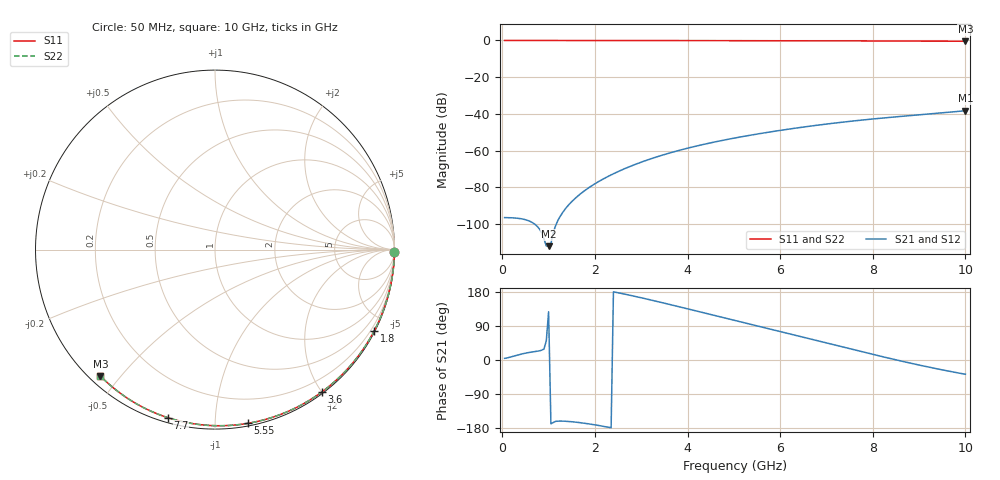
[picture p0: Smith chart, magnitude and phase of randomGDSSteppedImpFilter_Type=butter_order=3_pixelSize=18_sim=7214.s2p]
! freq	dB(S11)	phase(S11)	dB(S12)	phase(S12)
!  dB(S21)	phase(S21)	dB(S22)	phase(S22)
!S-par simulation data
#  GHz  S  DB  R 50
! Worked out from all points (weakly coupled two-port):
!   200 points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, 50 MHz to 10 GHz, reference 50 ohm
!   highest |S21| = -38.31 dB at 10 GHz (marker M1); lowest = -112.1 dB at 1 GHz (marker M2)
!   lowest |S11| = -0.4 dB at 10 GHz (marker M3), VSWR 39.60, Z = 1.51 - j22.1 ohm
!   |S11| at or under -10 dB: nowhere
!   |S22| runs from -0.4 to 0.0 dB; largest |S21 - S12| = 0
!   S11 on the Smith chart (normalised r, x): 50 MHz: open; 1.8 GHz: 0.04, -4.14; 3.6 GHz: 0.02, -2.00; 5.55 GHz: 0.02, -1.21; 7.7 GHz: 0.02, -0.76; 10 GHz: 0.03, -0.44
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0.05  -0.00 -0.8  -96.53 4.4  -96.53 4.4  -0.00 -0.8
0.5  -0.01 -7.6  -97.68 18.0  -97.68 18.0  -0.01 -7.6
1  -0.02 -15.2  -112.09 127.2  -112.09 127.2  -0.02 -15.2
1.75  -0.03 -26.4  -82.36 -166.5  -82.36 -166.5  -0.03 -26.4
1.8  -0.03 -27.1  -81.43 -167.3  -81.43 -167.3  -0.03 -27.1
1.85  -0.04 -27.9  -80.55 -168.2  -80.55 -168.2  -0.04 -27.9
1.9  -0.04 -28.6  -79.70 -169.2  -79.70 -169.2  -0.04 -28.6
2.05  -0.04 -30.8  -77.33 -172.2  -77.33 -172.2  -0.04 -30.8
2.25  -0.04 -33.7  -74.52 -176.5  -74.52 -176.5  -0.04 -33.7
2.65  -0.05 -39.5  -69.78 173.7  -69.78 173.7  -0.05 -39.5
3  -0.06 -44.6  -66.32 164.3  -66.32 164.3  -0.06 -44.6
3.4  -0.07 -50.2  -62.93 152.9  -62.93 152.9  -0.07 -50.2
3.6  -0.07 -53.0  -61.42 147.0  -61.42 147.0  -0.07 -53.0
4.3  -0.09 -62.7  -56.89 126.1  -56.89 126.1  -0.09 -62.7
5.05  -0.11 -72.7  -53.01 103.5  -53.01 103.5  -0.11 -72.7
5.55  -0.13 -79.2  -50.80 88.6  -50.80 88.6  -0.13 -79.2
6.1  -0.15 -86.2  -48.63 72.2  -48.63 72.2  -0.15 -86.2
6.7  -0.18 -93.6  -46.52 54.1  -46.52 54.1  -0.18 -93.6
7.7  -0.24 -105.7  -43.55 23.9  -43.55 23.9  -0.24 -105.7
8.35  -0.29 -113.3  -41.96 4.7  -41.96 4.7  -0.29 -113.3
9.15  -0.36 -122.6  -40.23 -17.3  -40.23 -17.3  -0.36 -122.6
10  -0.44 -132.2  -38.31 -37.6  -38.31 -37.6  -0.44 -132.2
